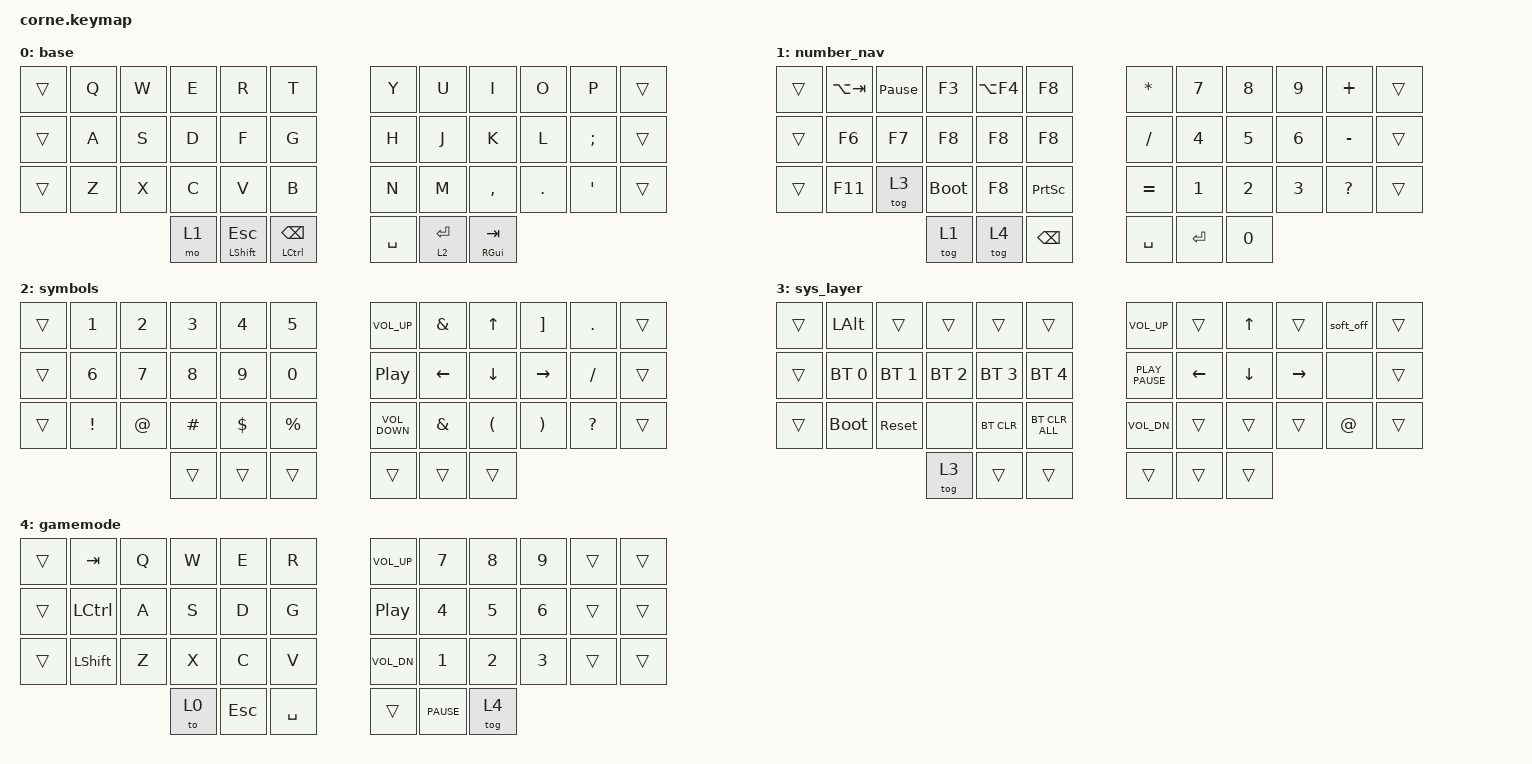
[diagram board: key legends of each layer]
/*
 * Copyright (c) 2020 The ZMK Contributors
 *
 * SPDX-License-Identifier: MIT
 */

#include <behaviors.dtsi>
#include <dt-bindings/zmk/bt.h>
#include <dt-bindings/zmk/keys.h>

&mt {
    quick-tap-ms = <125>;
    require-prior-idle-ms = <50>;
};

&lt { tapping-term-ms = <175>; };

/ {
    conditional_layers { compatible = "zmk,conditional-layers"; };

    keymap {
        compatible = "zmk,keymap";

        base {
            bindings = <
&trans  &kp Q  &kp W  &kp E  &kp R                  &kp T                         &kp Y      &kp U        &kp I              &kp O    &kp P     &trans
&trans  &kp A  &kp S  &kp D  &kp F                  &kp G                         &kp H      &kp J        &kp K              &kp L    &kp SEMI  &trans
&trans  &kp Z  &kp X  &kp C  &kp V                  &kp B                         &kp N      &kp M        &kp COMMA          &kp DOT  &kp SQT   &trans
                      &mo 1  &mt LEFT_SHIFT ESCAPE  &mt LEFT_CONTROL BACKSPACE    &kp SPACE  &lt 2 ENTER  &mt RIGHT_GUI TAB
            >;
        };

        number_nav {
            bindings = <
&trans  &kp LA(TAB)  &kp PAUSE_BREAK  &kp F3       &kp LA(F4)  &kp F8             &kp ASTERISK  &kp NUMBER_7  &kp N8        &kp N9        &kp PLUS      &trans
&trans  &kp F6       &kp F7           &kp F8       &kp F8      &kp F8             &kp SLASH     &kp NUMBER_4  &kp NUMBER_5  &kp NUMBER_6  &kp MINUS     &trans
&trans  &kp F11      &tog 3           &bootloader  &kp F8      &kp PRINTSCREEN    &kp EQUAL     &kp NUMBER_1  &kp NUMBER_2  &kp NUMBER_3  &kp QUESTION  &trans
                                      &tog 1       &tog 4      &kp BACKSPACE      &kp SPACE     &kp ENTER     &kp N0
            >;
        };

        symbols {
            bindings = <
&trans  &kp NUMBER_1     &kp NUMBER_2  &kp NUMBER_3  &kp NUMBER_4  &kp N5          &kp C_VOLUME_UP    &kp AMPERSAND  &kp UP_ARROW          &kp RIGHT_BRACKET      &kp PERIOD    &trans
&trans  &kp NUMBER_6     &kp N7        &kp N8        &kp N9        &kp NUMBER_0    &kp C_PLAY_PAUSE   &kp LEFT       &kp DOWN              &kp RIGHT              &kp SLASH     &trans
&trans  &kp EXCLAMATION  &kp AT_SIGN   &kp HASH      &kp DOLLAR    &kp PERCENT     &kp C_VOLUME_DOWN  &kp AMPERSAND  &kp LEFT_PARENTHESIS  &kp RIGHT_PARENTHESIS  &kp QUESTION  &trans
                                       &trans        &trans        &trans          &trans             &trans         &trans
            >;
        };

        sys_layer {
            bindings = <
&trans  &kp LEFT_ALT  &trans        &trans        &trans        &trans            &kp C_VOLUME_UP   &trans          &kp UP_ARROW  &trans           &soft_off    &trans
&trans  &bt BT_SEL 0  &bt BT_SEL 1  &bt BT_SEL 2  &bt BT_SEL 3  &bt BT_SEL 4      &kp K_PLAY_PAUSE  &kp LEFT_ARROW  &kp DOWN      &kp RIGHT_ARROW  &none        &trans
&trans  &bootloader   &sys_reset    &none         &bt BT_CLR    &bt BT_CLR_ALL    &kp C_VOL_DN      &trans          &trans        &trans           &kp AT_SIGN  &trans
                                    &tog 3        &trans        &trans            &trans            &trans          &trans
            >;
        };

        gamemode {
            bindings = <
&trans  &kp TAB         &kp Q  &kp W  &kp E       &kp R        &kp C_VOLUME_UP   &kp N7        &kp N8        &kp N9        &trans  &trans
&trans  &kp LCTRL       &kp A  &kp S  &kp D       &kp G        &kp C_PLAY_PAUSE  &kp NUMBER_4  &kp N5        &kp NUMBER_6  &trans  &trans
&trans  &kp LEFT_SHIFT  &kp Z  &kp X  &kp C       &kp V        &kp C_VOL_DN      &kp NUMBER_1  &kp NUMBER_2  &kp NUMBER_3  &trans  &trans
                               &to 0  &kp ESCAPE  &kp SPACE    &trans            &kp C_PAUSE   &tog 4
            >;
        };
    };
};
